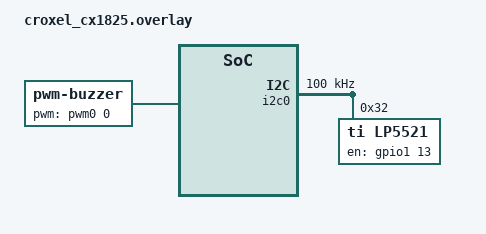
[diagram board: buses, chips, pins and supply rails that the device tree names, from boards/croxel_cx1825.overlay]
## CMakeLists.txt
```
cmake_minimum_required(VERSION 3.20.0)

find_package(Zephyr REQUIRED HINTS $ENV{ZEPHYR_BASE})
project(app)

target_include_directories(app PRIVATE
	include
)

target_sources(app PRIVATE
	src/main.c
	src/buzzer.c
	src/ledui.c
	src/user_button.c
)
```

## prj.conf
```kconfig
CONFIG_LOG=y
CONFIG_PWM=y
CONFIG_LED=y
CONFIG_USER_ALERTS=y
CONFIG_USER_BUTTON_ACTIONS=y
```

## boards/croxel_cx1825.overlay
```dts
/ {
	aliases {
		buzzer-pwm = &buzzer;
	};

	buzzer: buzzer {
		compatible = "pwm-buzzer";
		pwms = <&pwm0 0 PWM_HZ(4000) PWM_POLARITY_NORMAL>;
	};
};

&i2c0 {
	status = "okay";
	clock-frequency = <I2C_BITRATE_STANDARD>;

	lp5521: lp5521@32 {
		status = "okay";
		compatible = "ti,lp5521";
		reg = <0x32>;
		en-gpios = <&gpio1 13 GPIO_ACTIVE_HIGH>;
	};
};
```

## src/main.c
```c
/*
 * Copyright (c) 2012-2014 Wind River Systems, Inc.
 *
 * SPDX-License-Identifier: Apache-2.0
 */
#include <zephyr/logging/log.h>

LOG_MODULE_REGISTER(main);

int main(void)
{
	LOG_INF("Hello World! %s\n", CONFIG_BOARD);
	return 0;
}
```

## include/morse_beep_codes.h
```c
#include <zephyr/sys/util.h>
#include <user_alerts/user_alerts.h>

#define MORSE_DAA_FREQ	4400
#define MORSE_DIT_FREQ	3600
#define MORSE_SPACE_FREQ	0
#define MORSE_TIME(S)	((S) * 100)

/* morse beeper code array for "ZEPHYR" */
static const struct buzzer_alert_step _zephyr_morse_beep_steps[] = {
/* morse encoded "Z" Char */
	{.freq = MORSE_DAA_FREQ, .ms = MORSE_TIME(3)},
	{.freq = MORSE_SPACE_FREQ, .ms = MORSE_TIME(1)},
	{.freq = MORSE_DAA_FREQ, .ms = MORSE_TIME(3)},
	{.freq = MORSE_SPACE_FREQ, .ms = MORSE_TIME(1)},
	{.freq = MORSE_DIT_FREQ, .ms = MORSE_TIME(1)},
	{.freq = MORSE_SPACE_FREQ, .ms = MORSE_TIME(1)},
	{.freq = MORSE_DIT_FREQ, .ms = MORSE_TIME(1)},
	{.freq = MORSE_SPACE_FREQ, .ms = MORSE_TIME(1)},
	{.freq = MORSE_SPACE_FREQ, .ms = MORSE_TIME(3)},
/* morse encoded "E" Char */
	{.freq = MORSE_DIT_FREQ, .ms = MORSE_TIME(1)},
	{.freq = MORSE_SPACE_FREQ, .ms = MORSE_TIME(1)},
	{.freq = MORSE_SPACE_FREQ, .ms = MORSE_TIME(3)},
/* morse encoded "P" Char */
	{.freq = MORSE_DIT_FREQ, .ms = MORSE_TIME(1)},
	{.freq = MORSE_SPACE_FREQ, .ms = MORSE_TIME(1)},
	{.freq = MORSE_DAA_FREQ, .ms = MORSE_TIME(3)},
	{.freq = MORSE_SPACE_FREQ, .ms = MORSE_TIME(1)},
	{.freq = MORSE_DAA_FREQ, .ms = MORSE_TIME(3)},
	{.freq = MORSE_SPACE_FREQ, .ms = MORSE_TIME(1)},
	{.freq = MORSE_DIT_FREQ, .ms = MORSE_TIME(1)},
	{.freq = MORSE_SPACE_FREQ, .ms = MORSE_TIME(1)},
	{.freq = MORSE_SPACE_FREQ, .ms = MORSE_TIME(3)},
/* morse encoded "H" Char */
	{.freq = MORSE_DIT_FREQ, .ms = MORSE_TIME(1)},
	{.freq = MORSE_SPACE_FREQ, .ms = MORSE_TIME(1)},
	{.freq = MORSE_DIT_FREQ, .ms = MORSE_TIME(1)},
	{.freq = MORSE_SPACE_FREQ, .ms = MORSE_TIME(1)},
	{.freq = MORSE_DIT_FREQ, .ms = MORSE_TIME(1)},
	{.freq = MORSE_SPACE_FREQ, .ms = MORSE_TIME(1)},
	{.freq = MORSE_DIT_FREQ, .ms = MORSE_TIME(1)},
	{.freq = MORSE_SPACE_FREQ, .ms = MORSE_TIME(1)},
	{.freq = MORSE_SPACE_FREQ, .ms = MORSE_TIME(3)},
/* morse encoded "Y" Char */
	{.freq = MORSE_DAA_FREQ, .ms = MORSE_TIME(3)},
	{.freq = MORSE_SPACE_FREQ, .ms = MORSE_TIME(1)},
	{.freq = MORSE_DIT_FREQ, .ms = MORSE_TIME(1)},
	{.freq = MORSE_SPACE_FREQ, .ms = MORSE_TIME(1)},
	{.freq = MORSE_DAA_FREQ, .ms = MORSE_TIME(3)},
	{.freq = MORSE_SPACE_FREQ, .ms = MORSE_TIME(1)},
	{.freq = MORSE_DAA_FREQ, .ms = MORSE_TIME(3)},
	{.freq = MORSE_SPACE_FREQ, .ms = MORSE_TIME(1)},
	{.freq = MORSE_SPACE_FREQ, .ms = MORSE_TIME(3)},
/* morse encoded "R" Char */
	{.freq = MORSE_DIT_FREQ, .ms = MORSE_TIME(1)},
	{.freq = MORSE_SPACE_FREQ, .ms = MORSE_TIME(1)},
	{.freq = MORSE_DAA_FREQ, .ms = MORSE_TIME(3)},
	{.freq = MORSE_SPACE_FREQ, .ms = MORSE_TIME(1)},
	{.freq = MORSE_DIT_FREQ, .ms = MORSE_TIME(1)},
	{.freq = MORSE_SPACE_FREQ, .ms = MORSE_TIME(1)},
	{.freq = MORSE_SPACE_FREQ, .ms = MORSE_TIME(3)},
};

static const struct user_alerts_pattern _zephyr_morse_beeps = {
	.steps = _zephyr_morse_beep_steps,
	.steps_count = ARRAY_SIZE(_zephyr_morse_beep_steps),
	.loop_count = 1,
};
/* morse beeper code array for "CROXEL INC" */
static const struct buzzer_alert_step _croxel_inc_morse_beep_steps[] = {
/* morse encoded "C" Char */
	{.freq = MORSE_DAA_FREQ, .ms = MORSE_TIME(3)},
	{.freq = MORSE_SPACE_FREQ, .ms = MORSE_TIME(1)},
	{.freq = MORSE_DIT_FREQ, .ms = MORSE_TIME(1)},
	{.freq = MORSE_SPACE_FREQ, .ms = MORSE_TIME(1)},
	{.freq = MORSE_DAA_FREQ, .ms = MORSE_TIME(3)},
	{.freq = MORSE_SPACE_FREQ, .ms = MORSE_TIME(1)},
	{.freq = MORSE_DIT_FREQ, .ms = MORSE_TIME(1)},
	{.freq = MORSE_SPACE_FREQ, .ms = MORSE_TIME(1)},
	{.freq = MORSE_SPACE_FREQ, .ms = MORSE_TIME(3)},
/* morse encoded "R" Char */
	{.freq = MORSE_DIT_FREQ, .ms = MORSE_TIME(1)},
	{.freq = MORSE_SPACE_FREQ, .ms = MORSE_TIME(1)},
	{.freq = MORSE_DAA_FREQ, .ms = MORSE_TIME(3)},
	{.freq = MORSE_SPACE_FREQ, .ms = MORSE_TIME(1)},
	{.freq = MORSE_DIT_FREQ, .ms = MORSE_TIME(1)},
	{.freq = MORSE_SPACE_FREQ, .ms = MORSE_TIME(1)},
	{.freq = MORSE_SPACE_FREQ, .ms = MORSE_TIME(3)},
/* morse encoded "O" Char */
	{.freq = MORSE_DAA_FREQ, .ms = MORSE_TIME(3)},
	{.freq = MORSE_SPACE_FREQ, .ms = MORSE_TIME(1)},
	{.freq = MORSE_DAA_FREQ, .ms = MORSE_TIME(3)},
	{.freq = MORSE_SPACE_FREQ, .ms = MORSE_TIME(1)},
	{.freq = MORSE_DAA_FREQ, .ms = MORSE_TIME(3)},
	{.freq = MORSE_SPACE_FREQ, .ms = MORSE_TIME(1)},
	{.freq = MORSE_SPACE_FREQ, .ms = MORSE_TIME(3)},
/* morse encoded "X" Char */
	{.freq = MORSE_DAA_FREQ, .ms = MORSE_TIME(3)},
	{.freq = MORSE_SPACE_FREQ, .ms = MORSE_TIME(1)},
	{.freq = MORSE_DIT_FREQ, .ms = MORSE_TIME(1)},
	{.freq = MORSE_SPACE_FREQ, .ms = MORSE_TIME(1)},
	{.freq = MORSE_DIT_FREQ, .ms = MORSE_TIME(1)},
	{.freq = MORSE_SPACE_FREQ, .ms = MORSE_TIME(1)},
	{.freq = MORSE_DAA_FREQ, .ms = MORSE_TIME(3)},
	{.freq = MORSE_SPACE_FREQ, .ms = MORSE_TIME(1)},
	{.freq = MORSE_SPACE_FREQ, .ms = MORSE_TIME(3)},
/* morse encoded "E" Char */
	{.freq = MORSE_DIT_FREQ, .ms = MORSE_TIME(1)},
	{.freq = MORSE_SPACE_FREQ, .ms = MORSE_TIME(1)},
	{.freq = MORSE_SPACE_FREQ, .ms = MORSE_TIME(3)},
/* morse encoded "L" Char */
	{.freq = MORSE_DIT_FREQ, .ms = MORSE_TIME(1)},
	{.freq = MORSE_SPACE_FREQ, .ms = MORSE_TIME(1)},
	{.freq = MORSE_DAA_FREQ, .ms = MORSE_TIME(3)},
	{.freq = MORSE_SPACE_FREQ, .ms = MORSE_TIME(1)},
	{.freq = MORSE_DIT_FREQ, .ms = MORSE_TIME(1)},
	{.freq = MORSE_SPACE_FREQ, .ms = MORSE_TIME(1)},
	{.freq = MORSE_DIT_FREQ, .ms = MORSE_TIME(1)},
	{.freq = MORSE_SPACE_FREQ, .ms = MORSE_TIME(1)},
	{.freq = MORSE_SPACE_FREQ, .ms = MORSE_TIME(3)},
/* morse encoded word space */
	{.freq = MORSE_SPACE_FREQ, .ms = MORSE_TIME(7)},
/* morse encoded "I" Char */
	{.freq = MORSE_DIT_FREQ, .ms = MORSE_TIME(1)},
	{.freq = MORSE_SPACE_FREQ, .ms = MORSE_TIME(1)},
	{.freq = MORSE_DIT_FREQ, .ms = MORSE_TIME(1)},
	{.freq = MORSE_SPACE_FREQ, .ms = MORSE_TIME(1)},
	{.freq = MORSE_SPACE_FREQ, .ms = MORSE_TIME(3)},
/* morse encoded "N" Char */
	{.freq = MORSE_DAA_FREQ, .ms = MORSE_TIME(3)},
	{.freq = MORSE_SPACE_FREQ, .ms = MORSE_TIME(1)},
	{.freq = MORSE_DIT_FREQ, .ms = MORSE_TIME(1)},
	{.freq = MORSE_SPACE_FREQ, .ms = MORSE_TIME(1)},
	{.freq = MORSE_SPACE_FREQ, .ms = MORSE_TIME(3)},
/* morse encoded "C" Char */
	{.freq = MORSE_DAA_FREQ, .ms = MORSE_TIME(3)},
	{.freq = MORSE_SPACE_FREQ, .ms = MORSE_TIME(1)},
	{.freq = MORSE_DIT_FREQ, .ms = MORSE_TIME(1)},
	{.freq = MORSE_SPACE_FREQ, .ms = MORSE_TIME(1)},
	{.freq = MORSE_DAA_FREQ, .ms = MORSE_TIME(3)},
	{.freq = MORSE_SPACE_FREQ, .ms = MORSE_TIME(1)},
	{.freq = MORSE_DIT_FREQ, .ms = MORSE_TIME(1)},
	{.freq = MORSE_SPACE_FREQ, .ms = MORSE_TIME(1)},
	{.freq = MORSE_SPACE_FREQ, .ms = MORSE_TIME(3)},
};

static const struct user_alerts_pattern _croxel_inc_morse_beeps = {
	.steps = _croxel_inc_morse_beep_steps,
	.steps_count = ARRAY_SIZE(_croxel_inc_morse_beep_steps),
	.loop_count = 1,
};
```

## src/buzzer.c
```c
#include <zephyr/kernel.h>
#include <zephyr/logging/log.h>
#include <zephyr/drivers/pwm.h>
#include <user_alerts/user_alerts.h>
#include <user_button_actions/user_button_actions.h>
#include <morse_beep_codes.h>

LOG_MODULE_REGISTER(buzzer);

int pwm_user_alerts_step_exec(const struct user_alerts_channel *ch, const void *step)
{
	int err;
	const struct buzzer_alert_step *b_step = step;
	const struct pwm_dt_spec *pwm = ch->io;

	err = (b_step && b_step->freq)
		? pwm_set_dt(pwm, PWM_HZ(b_step->freq), PWM_HZ(b_step->freq) / 2)
		: pwm_set_dt(pwm, PWM_HZ(4000), 0);
	return err;
}

static const struct pwm_dt_spec _buzzer_ch_pwm = PWM_DT_SPEC_GET(DT_NODELABEL(buzzer));
static struct user_alerts_channel _buzzer_ch = {
	.step_size = sizeof(struct buzzer_alert_step),
	.io = &_buzzer_ch_pwm,
	.exec = pwm_user_alerts_step_exec,
	.cur_step_idx = 0,
	.cur_loop_idx = 0,
	/*".timer" wil be init using api */
	.pattern = NULL,
};

void buzzer_btn_action_handler(struct user_button_actions_channel *ch)
{
	if (ch->result.code == eUSER_BUTTON_DOUBLE_CLICK) {
		user_alerts_channel_play(&_buzzer_ch, &_croxel_inc_morse_beeps, true);
	}
}

SLL_LISTENER_DEFINE_NODE(user_button_actions,
			buzzer_btn_action_listener,
			.handler = buzzer_btn_action_handler);

int play_bootup_buzzer_beeps(void)
{
	SLL_LISTENER_ADD_NODE(user_button_actions, buzzer_btn_action_listener);
	user_alerts_channel_init_timer(&_buzzer_ch);
	user_alerts_channel_play(&_buzzer_ch, &_zephyr_morse_beeps, true);
	return 0;
}

SYS_INIT(play_bootup_buzzer_beeps, APPLICATION, 99);
```

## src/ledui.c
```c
#include <zephyr/kernel.h>
#include <zephyr/logging/log.h>
#include <user_alerts/user_alerts.h>
#include <zephyr/drivers/gpio.h>
#include <zephyr/drivers/led.h>
#include <zephyr/dt-bindings/led/led.h>
#include <user_button_actions/user_button_actions.h>

LOG_MODULE_REGISTER(ledui);

struct bi_led_io {
	struct gpio_dt_spec led1;
	struct gpio_dt_spec led2;
};

int bi_led_user_alerts_step_exec(const struct user_alerts_channel *ch, const void *step)
{
	int err;
	const struct bi_led_alert_step *b_step = step;
	const struct bi_led_io *io = ch->io;

	if (b_step) {
		err = gpio_pin_set_dt(&io->led1, b_step->duty_1);
		err = gpio_pin_set_dt(&io->led2, b_step->duty_2);
	} else {
		err = gpio_pin_set_dt(&io->led1, 0);
		err = gpio_pin_set_dt(&io->led2, 0);
	}
	return err;
}

const struct bi_led_alert_step _bootup_bi_led_steps[] = {
	{.ms = 250, .duty_1 = 0xFF, .duty_2 = 0x00},
	{.ms = 250, .duty_1 = 0xFF, .duty_2 = 0xFF},
	{.ms = 250, .duty_1 = 0x00, .duty_2 = 0xFF},
	{.ms = 250, .duty_1 = 0x00, .duty_2 = 0x00},
	{.ms = 250, .duty_1 = 0x00, .duty_2 = 0xFF},
	{.ms = 250, .duty_1 = 0xFF, .duty_2 = 0xFF},
	{.ms = 250, .duty_1 = 0xFF, .duty_2 = 0x00},
};
struct user_alerts_pattern _bootup_bi_led_pattern = {
	.steps = _bootup_bi_led_steps,
	.steps_count = ARRAY_SIZE(_bootup_bi_led_steps),
	.loop_count = 4,
};

static const struct bi_led_io _bi_led_io = {
	.led1 = GPIO_DT_SPEC_GET(DT_ALIAS(led0), gpios),
	.led2 = GPIO_DT_SPEC_GET(DT_ALIAS(led1), gpios),
};

static struct user_alerts_channel _bi_led_ch = {
	.step_size = sizeof(struct bi_led_alert_step),
	.io = &_bi_led_io,
	.exec = bi_led_user_alerts_step_exec,
	.cur_step_idx = 0,
	.cur_loop_idx = 0,
	/*".timer" wil be init using api */
	.pattern = NULL,
};

int rgb_led_user_alerts_step_exec(const struct user_alerts_channel *ch, const void *step)
{
	int err;
	const struct rgb_led_alert_step *b_step = step;
	const struct device *const dev = ch->io;

	if (b_step) {
		err = led_set_brightness(dev, LED_COLOR_ID_RED, b_step->r);
		err = led_set_brightness(dev, LED_COLOR_ID_GREEN, b_step->g);
		err = led_set_brightness(dev, LED_COLOR_ID_BLUE, b_step->b);
	} else {
		err = led_off(dev, LED_COLOR_ID_RED);
		err = led_off(dev, LED_COLOR_ID_GREEN);
		err = led_off(dev, LED_COLOR_ID_BLUE);
	}
	return err;
}

const struct rgb_led_alert_step _btn_click_rgb_led_steps[] = {
	{.ms = 250, .r = 0x64, .g = 0x64, .b = 0x64},
	{.ms = 250, .r = 0x64, .g = 0x64, .b = 0x00},
	{.ms = 250, .r = 0x64, .g = 0x00, .b = 0x64},
	{.ms = 250, .r = 0x64, .g = 0x00, .b = 0x00},
	{.ms = 250, .r = 0x00, .g = 0x64, .b = 0x64},
	{.ms = 250, .r = 0x00, .g = 0x64, .b = 0x00},
	{.ms = 250, .r = 0x00, .g = 0x00, .b = 0x64},
	{.ms = 250, .r = 0x00, .g = 0x00, .b = 0x00},
};
struct user_alerts_pattern _btn_click_rgb_led_pattern = {
	.steps = _btn_click_rgb_led_steps,
	.steps_count = ARRAY_SIZE(_btn_click_rgb_led_steps),
	.loop_count = 2,
};

const struct device *const _rgb_led_io = DEVICE_DT_GET_ANY(ti_lp5521);
static struct user_alerts_channel _rgb_led_ch = {
	.step_size = sizeof(struct rgb_led_alert_step),
	.io = _rgb_led_io,
	.exec = rgb_led_user_alerts_step_exec,
	.cur_step_idx = 0,
	.cur_loop_idx = 0,
	/*".timer" wil be init using api */
	.pattern = NULL,

};

const struct bi_led_alert_step _btn_press_bi_led_steps[] = {
	{.ms = 50, .duty_1 = 0xFF, .duty_2 = 0x00},
	{.ms = 450, .duty_1 = 0x00, .duty_2 = 0x00},
	{.ms = 50, .duty_1 = 0x00, .duty_2 = 0xFF},
	{.ms = 450, .duty_1 = 0x00, .duty_2 = 0x00},
};
struct user_alerts_pattern _btn_press_bi_led_pattern = {
	.steps = _btn_press_bi_led_steps,
	.steps_count = ARRAY_SIZE(_btn_press_bi_led_steps),
	.loop_count = 0,
};

void led_btn_action_handler(struct user_button_actions_channel *ch)
{
	switch (ch->result.code) {
		case eUSER_BUTTON_PRESS: {
		if (_bi_led_ch.pattern == &_btn_press_bi_led_pattern) {
			user_alerts_channel_stop(&_bi_led_ch, true);
		} else {
			user_alerts_channel_play(&_bi_led_ch, &_btn_press_bi_led_pattern, true);
		}
		} break;
		case eUSER_BUTTON_CLICK: {
			user_alerts_channel_play(&_rgb_led_ch, &_btn_click_rgb_led_pattern, true);
		} break;
	}
}

SLL_LISTENER_DEFINE_NODE(user_button_actions,
			led_btn_action_listener,
			.handler = led_btn_action_handler);

int play_bootup_led_blinks(void)
{
	int err;

	SLL_LISTENER_ADD_NODE(user_button_actions, led_btn_action_listener);

	err = gpio_is_ready_dt(&_bi_led_io.led1);
	if (!err) {
		LOG_ERR("Led1 is not ready");
		return 0;
	}

	err = gpio_is_ready_dt(&_bi_led_io.led2);
	if (!err) {
		LOG_ERR("Led3 is not ready");
		return 0;
	}

	err = gpio_pin_configure_dt(&_bi_led_io.led1, GPIO_OUTPUT_ACTIVE);
	if (err) {
		LOG_ERR("Led1 configuration error %d", err);
		return 0;
	}

	err = gpio_pin_configure_dt(&_bi_led_io.led2, GPIO_OUTPUT_ACTIVE);
	if (err) {
		LOG_ERR("Led2 configuration error %d", err);
		return 0;
	}

	user_alerts_channel_init_timer(&_bi_led_ch);
	user_alerts_channel_play(&_bi_led_ch, &_bootup_bi_led_pattern, true);

	user_alerts_channel_init_timer(&_rgb_led_ch);

	return 0;
}

SYS_INIT(play_bootup_led_blinks, APPLICATION, 99);
```

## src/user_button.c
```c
#include <zephyr/kernel.h>
#include <zephyr/logging/log.h>
#include <user_button_actions/user_button_actions.h>

LOG_MODULE_REGISTER(user_button);

static struct user_button_actions_channel btn = {
	.btn = GPIO_DT_SPEC_GET(DT_ALIAS(sw0), gpios),
};

int user_button_setup(void)
{
	user_button_actions_start_monitor(&btn);
	return 0;
}

SYS_INIT(user_button_setup, APPLICATION, 99);
```
